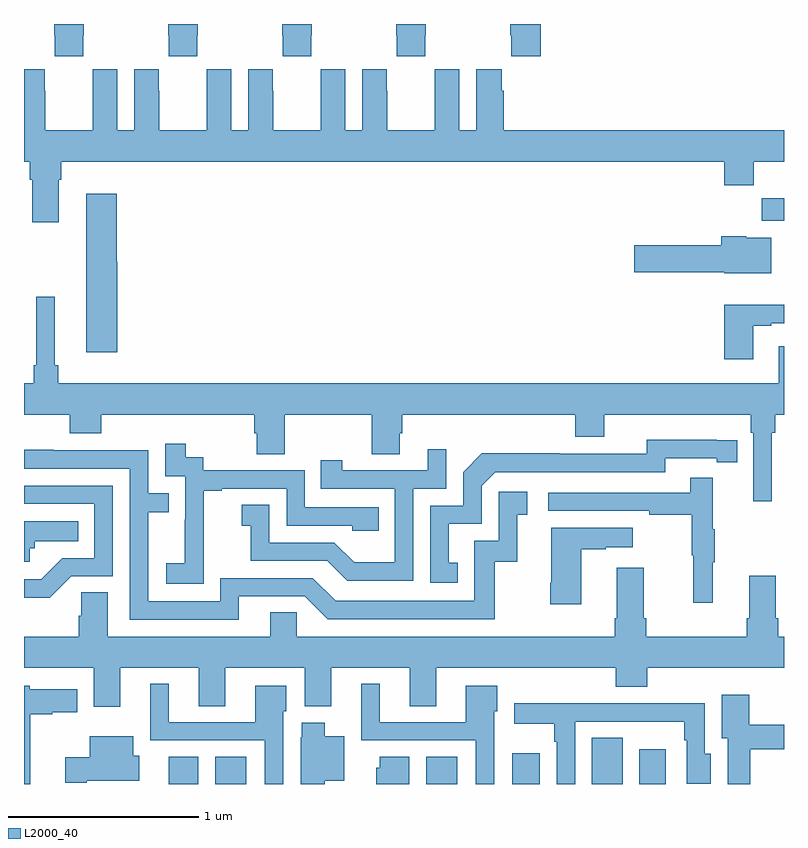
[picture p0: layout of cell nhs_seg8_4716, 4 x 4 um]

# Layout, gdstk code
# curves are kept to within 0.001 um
import gdstk
lib = gdstk.Library(unit=1e-6, precision=1e-09)
def R(c, l, rs):  # rectangles x0, y0, x1, y1
    for r in rs: c.add(gdstk.rectangle(r[:2], r[2:], *l))
def P(c, l, *ps):  # polygons
    for p in ps: c.add(gdstk.Polygon(p, *l))
L2000_40 = (2000, 40)

nhs_seg8_4716 = lib.new_cell('nhs_seg8_4716')
R(nhs_seg8_4716, L2000_40, [(397.763,1103.9,397.918,1104.044), (398.006,1103.9,398.17,1104.044), (399.116,1103.9,399.28,1104.044), (399.569,1103.9,399.715,1104.061), (399.989,1103.9,400.15,1104.143), (400.238,1103.9,400.378,1104.082), (400.882,1106.864,401,1106.983)])
P(nhs_seg8_4716, L2000_40, [(397.911,1107.841),(397.914,1107.841),(397.914,1107.9),(397.759,1107.9),(397.759,1107.841),(397.761,1107.841),(397.761,1107.729),(397.911,1107.729)],
  [(398.511,1107.841),(398.514,1107.841),(398.514,1107.9),(398.359,1107.9),(398.359,1107.841),(398.361,1107.841),(398.361,1107.729),(398.511,1107.729)],
  [(399.111,1107.841),(399.114,1107.841),(399.114,1107.9),(398.959,1107.9),(398.959,1107.841),(398.961,1107.841),(398.961,1107.729),(399.111,1107.729)],
  [(397.311,1107.841),(397.314,1107.841),(397.314,1107.9),(397.159,1107.9),(397.159,1107.841),(397.161,1107.841),(397.161,1107.729),(397.311,1107.729)],
  [(399.719,1107.9),(399.559,1107.9),(399.559,1107.841),(399.565,1107.841),(399.565,1107.729),(399.719,1107.729)],
  [(397,1107.661),(397,1107.176),(397.031,1107.176),(397.031,1107.08),(397.043,1107.08),(397.043,1106.856),(397.183,1106.856),(397.183,1107.08),(397.196,1107.08),(397.196,1107.176),(400.685,1107.176),(400.685,1107.052),(400.841,1107.052),(400.841,1107.176),(401,1107.176),(401,1107.34),(399.524,1107.34),(399.524,1107.548),(399.514,1107.548),(399.514,1107.661),(399.38,1107.661),(399.38,1107.34),(399.292,1107.34),(399.292,1107.661),(399.162,1107.661),(399.162,1107.548),(399.161,1107.548),(399.161,1107.34),(398.911,1107.34),(398.911,1107.548),(398.91,1107.548),(398.91,1107.661),(398.78,1107.661),(398.78,1107.34),(398.692,1107.34),(398.692,1107.661),(398.562,1107.661),(398.562,1107.548),(398.561,1107.548),(398.561,1107.34),(398.311,1107.34),(398.311,1107.548),(398.31,1107.548),(398.31,1107.661),(398.18,1107.661),(398.18,1107.34),(398.092,1107.34),(398.092,1107.661),(397.962,1107.661),(397.962,1107.548),(397.961,1107.548),(397.961,1107.34),(397.711,1107.34),(397.711,1107.548),(397.71,1107.548),(397.71,1107.661),(397.58,1107.661),(397.58,1107.34),(397.492,1107.34),(397.492,1107.661),(397.362,1107.661),(397.362,1107.548),(397.361,1107.548),(397.361,1107.34),(397.111,1107.34),(397.111,1107.548),(397.11,1107.548),(397.11,1107.661)],
  [(397.492,1106.649),(397.487,1106.649),(397.487,1107.007),(397.328,1107.007),(397.328,1106.172),(397.492,1106.172)],
  [(400.933,1106.776),(400.8,1106.776),(400.8,1106.782),(400.67,1106.782),(400.67,1106.736),(400.212,1106.736),(400.212,1106.594),(400.686,1106.594),(400.686,1106.588),(400.933,1106.588)],
  [(400.936,1105.748),(400.955,1105.748),(400.955,1105.844),(401,1105.844),(401,1106.203),(400.973,1106.203),(400.973,1106.008),(397.181,1106.008),(397.181,1106.104),(397.162,1106.104),(397.162,1106.464),(397.065,1106.464),(397.065,1106.104),(397.052,1106.104),(397.052,1106.008),(397,1106.008),(397,1105.844),(397.241,1105.844),(397.241,1105.745),(397.406,1105.745),(397.406,1105.844),(398.213,1105.844),(398.213,1105.746),(398.225,1105.746),(398.225,1105.636),(398.373,1105.636),(398.373,1105.844),(398.83,1105.844),(398.83,1105.636),(398.977,1105.636),(398.977,1105.746),(398.99,1105.746),(398.99,1105.844),(399.902,1105.844),(399.902,1105.727),(400.054,1105.727),(400.054,1105.844),(400.826,1105.844),(400.826,1105.748),(400.839,1105.748),(400.839,1105.389),(400.936,1105.389)],
  [(400.837,1106.313),(400.933,1106.313),(400.933,1106.325),(401,1106.325),(401,1106.422),(400.685,1106.422),(400.685,1106.136),(400.837,1106.136)],
  [(399.284,1105.065),(399.235,1105.065),(399.235,1105.269),(399.408,1105.269),(399.408,1105.47),(399.48,1105.542),(400.374,1105.542),(400.374,1105.614),(400.646,1105.614),(400.646,1105.594),(400.754,1105.594),(400.754,1105.71),(400.278,1105.711),(400.278,1105.638),(399.818,1105.638),(399.818,1105.64),(399.41,1105.64),(399.312,1105.542),(399.312,1105.365),(399.138,1105.365),(399.138,1104.96),(399.284,1104.96)],
  [(397.947,1105.159),(397.946,1105.159),(397.946,1105.443),(398.041,1105.443),(398.041,1105.455),(398.382,1105.455),(398.382,1105.26),(398.727,1105.26),(398.727,1105.233),(398.867,1105.233),(398.867,1105.356),(398.478,1105.356),(398.478,1105.551),(397.944,1105.551),(397.944,1105.62),(397.852,1105.62),(397.852,1105.69),(397.743,1105.69),(397.743,1105.521),(397.848,1105.521),(397.848,1105.292),(397.847,1105.292),(397.847,1105.063),(397.749,1105.063),(397.749,1104.953),(397.947,1104.953)],
  [(399.048,1105.455),(399.222,1105.455),(399.222,1105.663),(399.125,1105.663),(399.125,1105.551),(398.674,1105.551),(398.674,1105.603),(398.563,1105.603),(398.563,1105.455),(398.952,1105.455),(398.952,1105.066),(398.738,1105.066),(398.634,1105.17),(398.292,1105.17),(398.292,1105.369),(398.145,1105.369),(398.145,1105.259),(398.194,1105.259),(398.194,1105.074),(398.597,1105.074),(398.702,1104.969),(399.048,1104.969)],
  [(398.131,1104.888),(398.478,1104.888),(398.598,1104.768),(399.478,1104.768),(399.478,1105.071),(399.596,1105.071),(399.596,1105.317),(399.649,1105.317),(399.649,1105.438),(399.498,1105.438),(399.498,1105.179),(399.369,1105.179),(399.369,1104.864),(398.64,1104.864),(398.52,1104.984),(398.034,1104.984),(398.034,1104.861),(397.653,1104.861),(397.653,1105.33),(397.763,1105.33),(397.763,1105.431),(397.653,1105.431),(397.653,1105.656),(397.157,1105.656),(397.157,1105.658),(397,1105.658),(397,1105.56),(397.557,1105.56),(397.557,1104.765),(398.131,1104.765)],
  [(400.625,1105.067),(400.636,1105.067),(400.636,1105.241),(400.625,1105.241),(400.625,1105.513),(400.507,1105.513),(400.507,1105.434),(399.759,1105.434),(399.759,1105.338),(400.291,1105.338),(400.291,1105.318),(400.515,1105.318),(400.515,1105.104),(400.522,1105.104),(400.522,1104.855),(400.625,1104.855)],
  [(397.248,1104.993),(397.467,1104.993),(397.467,1105.47),(397,1105.47),(397,1105.374),(397.371,1105.374),(397.371,1105.089),(397.202,1105.089),(397.091,1104.978),(397,1104.978),(397,1104.881),(397.135,1104.881)],
  [(397.029,1105.14),(397.056,1105.14),(397.056,1105.178),(397.286,1105.178),(397.286,1105.282),(397,1105.282),(397,1105.07),(397.029,1105.07)],
  [(399.934,1105.135),(400.061,1105.135),(400.061,1105.145),(400.204,1105.145),(400.204,1105.249),(399.776,1105.249),(399.776,1104.958),(399.769,1104.958),(399.769,1104.846),(399.934,1104.846)],
  [(397.507,1104.512),(397.919,1104.512),(397.919,1104.31),(398.059,1104.31),(398.059,1104.512),(398.477,1104.512),(398.477,1104.308),(398.617,1104.308),(398.617,1104.512),(399.029,1104.512),(399.029,1104.31),(399.169,1104.31),(399.169,1104.512),(400.115,1104.512),(400.115,1104.413),(400.28,1104.413),(400.28,1104.512),(401,1104.512),(401,1104.676),(400.97,1104.676),(400.97,1104.772),(400.957,1104.772),(400.957,1104.997),(400.817,1104.997),(400.817,1104.772),(400.805,1104.772),(400.805,1104.676),(400.274,1104.676),(400.274,1104.772),(400.261,1104.772),(400.261,1105.039),(400.121,1105.039),(400.121,1104.772),(400.109,1104.772),(400.109,1104.676),(398.436,1104.676),(398.436,1104.803),(398.297,1104.803),(398.297,1104.676),(397.441,1104.676),(397.441,1104.908),(397.302,1104.908),(397.302,1104.785),(397.289,1104.785),(397.289,1104.676),(397,1104.676),(397,1104.512),(397.367,1104.512),(397.367,1104.306),(397.507,1104.306)],
  [(398.364,1104.282),(398.38,1104.282),(398.38,1104.418),(398.216,1104.418),(398.216,1104.225),(397.762,1104.225),(397.762,1104.427),(397.664,1104.427),(397.664,1104.129),(398.268,1104.129),(398.268,1103.9),(398.364,1103.9)],
  [(399.474,1104.282),(399.49,1104.282),(399.49,1104.418),(399.326,1104.418),(399.326,1104.225),(398.872,1104.225),(398.872,1104.427),(398.774,1104.427),(398.774,1104.129),(399.378,1104.129),(399.378,1103.9),(399.474,1103.9)],
  [(397.034,1104.266),(397.148,1104.266),(397.148,1104.278),(397.279,1104.278),(397.279,1104.4),(397.029,1104.4),(397.029,1104.418),(397,1104.418),(397,1103.9),(397.034,1103.9)],
  [(400.822,1104.082),(401,1104.082),(401,1104.211),(400.817,1104.211),(400.817,1104.37),(400.673,1104.37),(400.673,1104.141),(400.703,1104.141),(400.703,1103.9),(400.822,1103.9)],
  [(399.9,1104.228),(400.246,1104.228),(400.246,1104.227),(400.476,1104.227),(400.476,1104.131),(400.488,1104.131),(400.488,1103.901),(400.615,1103.901),(400.615,1104.06),(400.584,1104.06),(400.584,1104.326),(400.363,1104.326),(400.363,1104.324),(399.997,1104.324),(399.997,1104.326),(399.579,1104.326),(399.579,1104.218),(399.792,1104.218),(399.792,1104.122),(399.804,1104.122),(399.804,1103.9),(399.9,1103.9)],
  [(398.584,1103.918),(398.686,1103.918),(398.686,1104.151),(398.584,1104.151),(398.584,1104.223),(398.462,1104.223),(398.462,1104.147),(398.456,1104.147),(398.456,1103.9),(398.584,1103.9)],
  [(397.33,1103.918),(397.606,1103.918),(397.606,1104.048),(397.576,1104.048),(397.576,1104.151),(397.346,1104.151),(397.346,1104.04),(397.218,1104.04),(397.218,1103.906),(397.33,1103.906)],
  [(399.028,1104.044),(398.873,1104.044),(398.873,1103.985),(398.855,1103.985),(398.855,1103.9),(399.028,1103.9)])

lib.write_gds('nhs_seg8_4716.gds')
